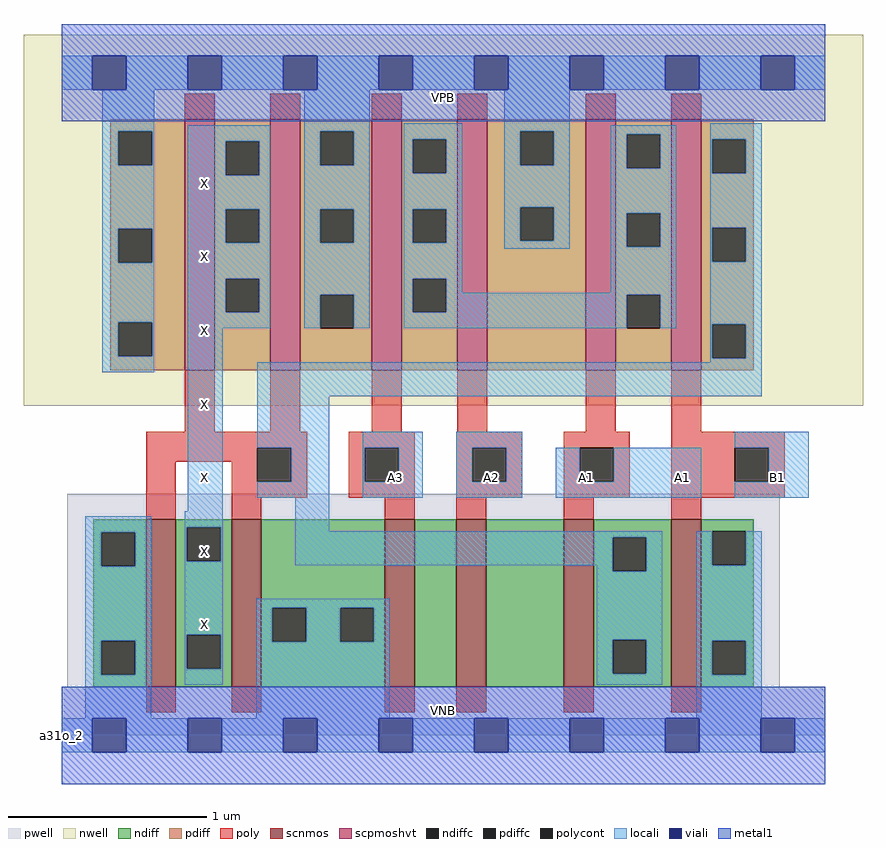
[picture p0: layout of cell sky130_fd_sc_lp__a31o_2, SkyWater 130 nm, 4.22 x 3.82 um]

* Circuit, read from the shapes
.subckt sky130_fd_sc_lp__a31o_2 A1 A2 A3 B1 VGND VNB VPB VPWR X
XM1 X n1 VGND VNB sky130_fd_pr__nfet_01v8 w=0.84 l=0.15 m=2
XM2 n2 A3 VGND VNB sky130_fd_pr__nfet_01v8 w=0.84 l=0.15
XM3 n3 A2 n2 VNB sky130_fd_pr__nfet_01v8 w=0.84 l=0.15
XM4 n1 A1 n3 VNB sky130_fd_pr__nfet_01v8 w=0.84 l=0.15
XM5 VGND B1 n1 VNB sky130_fd_pr__nfet_01v8 w=0.84 l=0.15
XM6 X n1 VPWR VPB sky130_fd_pr__pfet_01v8_hvt w=1.26 l=0.15 m=2
XM7 n4 A3 VPWR VPB sky130_fd_pr__pfet_01v8_hvt w=1.26 l=0.15
XM8 VPWR A2 n4 VPB sky130_fd_pr__pfet_01v8_hvt w=1.26 l=0.15
XM9 n4 A1 VPWR VPB sky130_fd_pr__pfet_01v8_hvt w=1.26 l=0.15
XM10 n1 B1 n4 VPB sky130_fd_pr__pfet_01v8_hvt w=1.26 l=0.15
.ends

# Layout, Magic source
magic
tech sky130A
magscale 1 2
<< nwell >>
rect -38 331 806 704
<< pwell >>
rect 6 49 722 243
rect 0 0 768 49
<< scnmos >>
rect 85 49 115 217
rect 171 49 201 217
rect 325 49 355 217
rect 397 49 427 217
rect 505 49 535 217
rect 613 49 643 217
<< scpmoshvt >>
rect 124 367 154 619
rect 210 367 240 619
rect 312 367 342 619
rect 398 367 428 619
rect 527 367 557 619
rect 613 367 643 619
<< ndiff >>
rect 32 204 85 217
rect 32 170 40 204
rect 74 170 85 204
rect 32 95 85 170
rect 32 61 40 95
rect 74 61 85 95
rect 32 49 85 61
rect 115 209 171 217
rect 115 175 126 209
rect 160 175 171 209
rect 115 101 171 175
rect 115 67 126 101
rect 160 67 171 101
rect 115 49 171 67
rect 201 128 325 217
rect 201 94 212 128
rect 246 94 280 128
rect 314 94 325 128
rect 201 49 325 94
rect 355 49 397 217
rect 427 49 505 217
rect 535 199 613 217
rect 535 165 554 199
rect 588 165 613 199
rect 535 96 613 165
rect 535 62 554 96
rect 588 62 613 96
rect 535 49 613 62
rect 643 205 696 217
rect 643 171 654 205
rect 688 171 696 205
rect 643 95 696 171
rect 643 61 654 95
rect 688 61 696 95
rect 643 49 696 61
<< pdiff >>
rect 49 607 124 619
rect 49 573 57 607
rect 91 573 124 607
rect 49 509 124 573
rect 49 475 57 509
rect 91 475 124 509
rect 49 415 124 475
rect 49 381 57 415
rect 91 381 124 415
rect 49 367 124 381
rect 154 597 210 619
rect 154 563 165 597
rect 199 563 210 597
rect 154 529 210 563
rect 154 495 165 529
rect 199 495 210 529
rect 154 459 210 495
rect 154 425 165 459
rect 199 425 210 459
rect 154 367 210 425
rect 240 607 312 619
rect 240 573 260 607
rect 294 573 312 607
rect 240 529 312 573
rect 240 495 260 529
rect 294 495 312 529
rect 240 443 312 495
rect 240 409 260 443
rect 294 409 312 443
rect 240 367 312 409
rect 342 599 398 619
rect 342 565 353 599
rect 387 565 398 599
rect 342 529 398 565
rect 342 495 353 529
rect 387 495 398 529
rect 342 459 398 495
rect 342 425 353 459
rect 387 425 398 459
rect 342 367 398 425
rect 428 607 527 619
rect 428 573 461 607
rect 495 573 527 607
rect 428 531 527 573
rect 428 497 461 531
rect 495 497 527 531
rect 428 367 527 497
rect 557 604 613 619
rect 557 570 568 604
rect 602 570 613 604
rect 557 525 613 570
rect 557 491 568 525
rect 602 491 613 525
rect 557 443 613 491
rect 557 409 568 443
rect 602 409 613 443
rect 557 367 613 409
rect 643 599 696 619
rect 643 565 654 599
rect 688 565 696 599
rect 643 510 696 565
rect 643 476 654 510
rect 688 476 696 510
rect 643 413 696 476
rect 643 379 654 413
rect 688 379 696 413
rect 643 367 696 379
<< ndiffc >>
rect 40 170 74 204
rect 40 61 74 95
rect 126 175 160 209
rect 126 67 160 101
rect 212 94 246 128
rect 280 94 314 128
rect 554 165 588 199
rect 554 62 588 96
rect 654 171 688 205
rect 654 61 688 95
<< pdiffc >>
rect 57 573 91 607
rect 57 475 91 509
rect 57 381 91 415
rect 165 563 199 597
rect 165 495 199 529
rect 165 425 199 459
rect 260 573 294 607
rect 260 495 294 529
rect 260 409 294 443
rect 353 565 387 599
rect 353 495 387 529
rect 353 425 387 459
rect 461 573 495 607
rect 461 497 495 531
rect 568 570 602 604
rect 568 491 602 525
rect 568 409 602 443
rect 654 565 688 599
rect 654 476 688 510
rect 654 379 688 413
<< poly >>
rect 124 619 154 645
rect 210 619 240 645
rect 312 619 342 645
rect 398 619 428 645
rect 527 619 557 645
rect 613 619 643 645
rect 124 305 154 367
rect 210 305 240 367
rect 312 305 342 367
rect 398 305 428 367
rect 527 305 557 367
rect 613 305 643 367
rect 85 289 247 305
rect 85 275 197 289
rect 85 217 115 275
rect 171 255 197 275
rect 231 255 247 289
rect 171 239 247 255
rect 289 289 355 305
rect 289 255 305 289
rect 339 255 355 289
rect 289 239 355 255
rect 171 217 201 239
rect 325 217 355 239
rect 397 289 463 305
rect 397 255 413 289
rect 447 255 463 289
rect 397 239 463 255
rect 505 289 571 305
rect 505 255 521 289
rect 555 255 571 289
rect 505 239 571 255
rect 613 289 727 305
rect 613 255 677 289
rect 711 255 727 289
rect 613 239 727 255
rect 397 217 427 239
rect 505 217 535 239
rect 613 217 643 239
rect 85 23 115 49
rect 171 23 201 49
rect 325 23 355 49
rect 397 23 427 49
rect 505 23 535 49
rect 613 23 643 49
<< polycont >>
rect 197 255 231 289
rect 305 255 339 289
rect 413 255 447 289
rect 521 255 555 289
rect 677 255 711 289
<< locali >>
rect 0 649 31 683
rect 65 649 127 683
rect 161 649 223 683
rect 257 649 319 683
rect 353 649 415 683
rect 449 649 511 683
rect 545 649 607 683
rect 641 649 703 683
rect 737 649 768 683
rect 41 607 93 649
rect 41 573 57 607
rect 91 573 93 607
rect 41 509 93 573
rect 41 475 57 509
rect 91 475 93 509
rect 41 415 93 475
rect 41 381 57 415
rect 91 381 93 415
rect 41 365 93 381
rect 127 597 210 613
rect 127 563 165 597
rect 199 563 210 597
rect 127 529 210 563
rect 127 495 165 529
rect 199 495 210 529
rect 127 459 210 495
rect 127 425 165 459
rect 199 425 210 459
rect 127 409 210 425
rect 244 607 310 649
rect 244 573 260 607
rect 294 573 310 607
rect 244 529 310 573
rect 244 495 260 529
rect 294 495 310 529
rect 244 443 310 495
rect 244 409 260 443
rect 294 409 310 443
rect 344 599 403 615
rect 344 565 353 599
rect 387 565 403 599
rect 344 529 403 565
rect 344 495 353 529
rect 387 495 403 529
rect 344 459 403 495
rect 445 607 511 649
rect 445 573 461 607
rect 495 573 511 607
rect 445 531 511 573
rect 445 497 461 531
rect 495 497 511 531
rect 445 489 511 497
rect 552 604 618 613
rect 552 570 568 604
rect 602 570 618 604
rect 552 525 618 570
rect 552 491 568 525
rect 602 491 618 525
rect 344 425 353 459
rect 387 445 403 459
rect 552 445 618 491
rect 387 443 618 445
rect 387 425 568 443
rect 344 409 568 425
rect 602 409 618 443
rect 652 599 704 615
rect 652 565 654 599
rect 688 565 704 599
rect 652 510 704 565
rect 652 476 654 510
rect 688 476 704 510
rect 652 413 704 476
rect 127 225 162 409
rect 652 379 654 413
rect 688 379 704 413
rect 652 375 704 379
rect 197 341 704 375
rect 197 289 269 341
rect 231 255 269 289
rect 197 239 269 255
rect 303 289 363 305
rect 303 255 305 289
rect 339 255 363 289
rect 303 239 363 255
rect 397 289 463 305
rect 677 289 751 305
rect 397 255 413 289
rect 447 255 463 289
rect 397 239 463 255
rect 497 255 521 289
rect 555 255 643 289
rect 497 239 643 255
rect 711 255 751 289
rect 677 239 751 255
rect 24 204 90 220
rect 24 170 40 204
rect 74 170 90 204
rect 24 95 90 170
rect 24 61 40 95
rect 74 61 90 95
rect 24 17 90 61
rect 124 209 162 225
rect 124 175 126 209
rect 160 175 162 209
rect 124 101 162 175
rect 235 205 269 239
rect 235 199 604 205
rect 235 171 554 199
rect 538 165 554 171
rect 588 165 604 199
rect 124 67 126 101
rect 160 67 162 101
rect 124 51 162 67
rect 196 128 330 137
rect 196 94 212 128
rect 246 94 280 128
rect 314 94 330 128
rect 196 17 330 94
rect 538 96 604 165
rect 538 62 554 96
rect 588 62 604 96
rect 538 51 604 62
rect 638 171 654 205
rect 688 171 704 205
rect 638 95 704 171
rect 638 61 654 95
rect 688 61 704 95
rect 638 17 704 61
rect 0 -17 31 17
rect 65 -17 127 17
rect 161 -17 223 17
rect 257 -17 319 17
rect 353 -17 415 17
rect 449 -17 511 17
rect 545 -17 607 17
rect 641 -17 703 17
rect 737 -17 768 17
<< viali >>
rect 31 649 65 683
rect 127 649 161 683
rect 223 649 257 683
rect 319 649 353 683
rect 415 649 449 683
rect 511 649 545 683
rect 607 649 641 683
rect 703 649 737 683
rect 31 -17 65 17
rect 127 -17 161 17
rect 223 -17 257 17
rect 319 -17 353 17
rect 415 -17 449 17
rect 511 -17 545 17
rect 607 -17 641 17
rect 703 -17 737 17
<< metal1 >>
rect 0 683 768 715
rect 0 649 31 683
rect 65 649 127 683
rect 161 649 223 683
rect 257 649 319 683
rect 353 649 415 683
rect 449 649 511 683
rect 545 649 607 683
rect 641 649 703 683
rect 737 649 768 683
rect 0 617 768 649
rect 0 17 768 49
rect 0 -17 31 17
rect 65 -17 127 17
rect 161 -17 223 17
rect 257 -17 319 17
rect 353 -17 415 17
rect 449 -17 511 17
rect 545 -17 607 17
rect 641 -17 703 17
rect 737 -17 768 17
rect 0 -49 768 -17
<< labels >>
flabel pwell s 0 0 768 49 0 FreeSans 200 0 0 0 VNB
port 6 nsew ground bidirectional
flabel nwell s 0 617 768 666 0 FreeSans 200 0 0 0 VPB
port 7 nsew power bidirectional
rlabel comment s 0 0 0 0 4 a31o_2
flabel metal1 s 0 617 768 666 0 FreeSans 340 0 0 0 VPWR
port 8 nsew power bidirectional
flabel metal1 s 0 0 768 49 0 FreeSans 340 0 0 0 VGND
port 5 nsew ground bidirectional
flabel locali s 127 94 161 128 0 FreeSans 340 0 0 0 X
port 9 nsew signal output
flabel locali s 127 168 161 202 0 FreeSans 340 0 0 0 X
port 9 nsew signal output
flabel locali s 127 242 161 276 0 FreeSans 340 0 0 0 X
port 9 nsew signal output
flabel locali s 127 316 161 350 0 FreeSans 340 0 0 0 X
port 9 nsew signal output
flabel locali s 127 390 161 424 0 FreeSans 340 0 0 0 X
port 9 nsew signal output
flabel locali s 127 464 161 498 0 FreeSans 340 0 0 0 X
port 9 nsew signal output
flabel locali s 127 538 161 572 0 FreeSans 340 0 0 0 X
port 9 nsew signal output
flabel locali s 511 242 545 276 0 FreeSans 340 0 0 0 A1
port 1 nsew signal input
flabel locali s 607 242 641 276 0 FreeSans 340 0 0 0 A1
port 1 nsew signal input
flabel locali s 415 242 449 276 0 FreeSans 340 0 0 0 A2
port 2 nsew signal input
flabel locali s 319 242 353 276 0 FreeSans 340 0 0 0 A3
port 3 nsew signal input
flabel locali s 703 242 737 276 0 FreeSans 340 0 0 0 B1
port 4 nsew signal input
<< properties >>
string LEFsite unit
string LEFclass CORE
string FIXED_BBOX 0 0 768 666
string GDS_FILE $PDKPATH/libs.ref/sky130_fd_sc_lp/gds/sky130_fd_sc_lp.gds
string LEFsymmetry X Y R90
string GDS_END 2780304
string GDS_START 2772700
<< end >>
